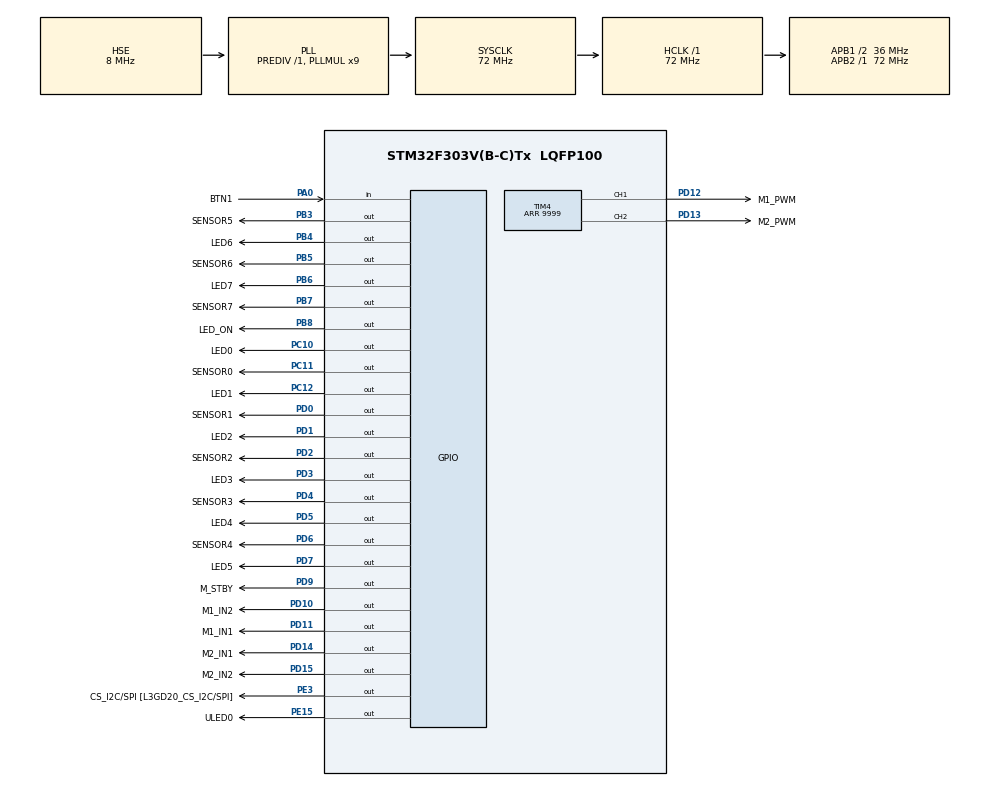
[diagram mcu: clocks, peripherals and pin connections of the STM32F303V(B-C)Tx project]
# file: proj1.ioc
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Mcu.Family=STM32F3
Mcu.Name=STM32F303V(B-C)Tx
Mcu.Package=LQFP100
NVIC.PriorityGroup=NVIC_PRIORITYGROUP_0
NVIC.TIM4_IRQn=true\:0\:0\:false\:false\:true\:true
NVIC.TIM6_DAC_IRQn=true\:0\:0\:true\:false\:true\:true
NVIC.TIM7_IRQn=true\:0\:0\:false\:false\:true\:true
PA0.GPIO_Label=BTN1
PA0.Signal=GPIO_Input
PA11.GPIO_Label=DM
PA11.Signal=USB_DM
PA12.GPIO_Label=DP
PA12.Signal=USB_DP
PA13.GPIO_Label=SWDIO
PA13.Signal=SYS_JTMS-SWDIO
PA14.GPIO_Label=SWCLK
PA14.Signal=SYS_JTCK-SWCLK
PA5.GPIO_Label=SPI1_SCK [L3GD20_SCL/SPC]
PA5.GPIO_Mode=GPIO_MODE_AF_PP
PA5.GPIO_PuPd=GPIO_NOPULL
PA5.GPIO_Speed=GPIO_SPEED_FREQ_LOW
PA5.Signal=SPI1_SCK
PA6.GPIO_Label=SPI1_MISO [L3GD20_SA0/SDO]
PA6.GPIO_Mode=GPIO_MODE_AF_PP
PA6.GPIO_PuPd=GPIO_NOPULL
PA6.GPIO_Speed=GPIO_SPEED_FREQ_LOW
PA6.Signal=SPI1_MISO
PA7.GPIO_Label=SPI1_MISO [L3GD20_SDA/SDI/SDO]
PA7.GPIO_Mode=GPIO_MODE_AF_PP
PA7.GPIO_PuPd=GPIO_NOPULL
PA7.GPIO_Speed=GPIO_SPEED_FREQ_LOW
PA7.Signal=SPI1_MOSI
PB3.GPIO_Label=SENSOR5
PB3.Signal=GPIO_Output
PB4.GPIO_Label=LED6
PB4.Signal=GPIO_Output
PB5.GPIO_Label=SENSOR6
PB5.Signal=GPIO_Output
PB6.GPIO_Label=LED7
PB6.Signal=GPIO_Output
PB7.GPIO_Label=SENSOR7
PB7.Signal=GPIO_Output
PB8.GPIO_Label=LED_ON
PB8.Signal=GPIO_Output
PC10.GPIO_Label=LED0
PC10.Signal=GPIO_Output
PC11.GPIO_Label=SENSOR0
PC11.Signal=GPIO_Output
PC12.GPIO_Label=LED1
PC12.Signal=GPIO_Output
PC14-OSC32_IN.GPIO_Label=OSC32_IN
PC14-OSC32_IN.Signal=RCC_OSC32_IN
PC15-OSC32_OUT.GPIO_Label=OSC32_OUT
PC15-OSC32_OUT.Signal=RCC_OSC32_OUT
PD0.GPIO_Label=SENSOR1
PD0.Signal=GPIO_Output
PD1.GPIO_Label=LED2
PD1.Signal=GPIO_Output
PD10.GPIO_Label=M1_IN2
PD10.Signal=GPIO_Output
PD11.GPIO_Label=M1_IN1
PD11.Signal=GPIO_Output
PD12.GPIO_Label=M1_PWM
PD12.Signal=S_TIM4_CH1
PD13.GPIO_Label=M2_PWM
PD13.Signal=S_TIM4_CH2
PD14.GPIO_Label=M2_IN1
PD14.Signal=GPIO_Output
PD15.GPIO_Label=M2_IN2
PD15.Signal=GPIO_Output
PD2.GPIO_Label=SENSOR2
PD2.Signal=GPIO_Output
PD3.GPIO_Label=LED3
PD3.Signal=GPIO_Output
PD4.GPIO_Label=SENSOR3
PD4.Signal=GPIO_Output
PD5.GPIO_Label=LED4
PD5.Signal=GPIO_Output
PD6.GPIO_Label=SENSOR4
PD6.Signal=GPIO_Output
PD7.GPIO_Label=LED5
PD7.Signal=GPIO_Output
PD9.GPIO_Label=M_STBY
PD9.Signal=GPIO_Output
PE15.GPIO_Label=ULED0
PE15.Signal=GPIO_Output
PE3.GPIO_Label=CS_I2C/SPI [L3GD20_CS_I2C/SPI]
PE3.GPIO_ModeDefaultOutputPP=GPIO_MODE_OUTPUT_PP
PE3.GPIO_PuPd=GPIO_NOPULL
PE3.GPIO_Speed=GPIO_SPEED_FREQ_LOW
PE3.Signal=GPIO_Output
PF0-OSC_IN.GPIO_Label=OSC_IN
PF0-OSC_IN.Mode=HSE-External-Oscillator
PF0-OSC_IN.Signal=RCC_OSC_IN
PF1-OSC_OUT.GPIO_Label=OSC_OUT
PF1-OSC_OUT.Mode=HSE-External-Oscillator
PF1-OSC_OUT.Signal=RCC_OSC_OUT
ProjectManager.HeapSize=0x200
ProjectManager.StackSize=0x400
ProjectManager.TargetToolchain=MDK-ARM V5
RCC.AHBFreq_Value=72000000
RCC.APB1CLKDivider=RCC_HCLK_DIV2
RCC.APB1Freq_Value=36000000
RCC.APB1TimFreq_Value=72000000
RCC.APB2Freq_Value=72000000
RCC.APB2TimFreq_Value=72000000
RCC.CortexFreq_Value=72000000
RCC.HCLKFreq_Value=72000000
RCC.HSE_VALUE=8000000
RCC.HSI_VALUE=8000000
RCC.LSE_VALUE=32768
RCC.PLLMUL=RCC_PLL_MUL9
RCC.PLLSourceVirtual=RCC_PLLSOURCE_HSE
RCC.SYSCLKFreq_VALUE=72000000
RCC.SYSCLKSourceVirtual=RCC_SYSCLKSOURCE_PLLCLK
RCC.USBFreq_Value=72000000
SH.S_TIM4_CH1.0=TIM4_CH1,PWM Generation1 CH1
SH.S_TIM4_CH2.0=TIM4_CH2,PWM Generation2 CH2
TIM4.Channel-PWM\ Generation1\ CH1=TIM_CHANNEL_1
TIM4.Channel-PWM\ Generation2\ CH2=TIM_CHANNEL_2
TIM4.Period=9999
TIM4.Pulse-PWM\ Generation1\ CH1=4999
TIM4.Pulse-PWM\ Generation2\ CH2=4999
TIM6.Period=65535
TIM6.Prescaler=71
TIM7.Period=999
TIM7.Prescaler=35999
VP_TIM4_VS_ClockSourceINT.Mode=Internal
VP_TIM6_VS_ClockSourceINT.Mode=Enable_Timer
VP_TIM7_VS_ClockSourceINT.Mode=Enable_Timer
board=STM32F3DISCOVERY

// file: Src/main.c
/**
  ******************************************************************************
  * @file           : main.c
  * @brief          : Main program body
  ******************************************************************************
  ** This notice applies to any and all portions of this file
  * that are not between comment pairs USER CODE BEGIN and
  * USER CODE END. Other portions of this file, whether
  * inserted by the user or by software development tools
  * are owned by their respective copyright owners.
  *
  * COPYRIGHT(c) 2018 STMicroelectronics
  *
  * Redistribution and use in source and binary forms, with or without modification,
  * are permitted provided that the following conditions are met:
  *   1. Redistributions of source code must retain the above copyright notice,
  *      this list of conditions and the following disclaimer.
  *   2. Redistributions in binary form must reproduce the above copyright notice,
  *      this list of conditions and the following disclaimer in the documentation
  *      and/or other materials provided with the distribution.
  *   3. Neither the name of STMicroelectronics nor the names of its contributors
  *      may be used to endorse or promote products derived from this software
  *      without specific prior written permission.
  *
  * THIS SOFTWARE IS PROVIDED BY THE COPYRIGHT HOLDERS AND CONTRIBUTORS "AS IS"
  * AND ANY EXPRESS OR IMPLIED WARRANTIES, INCLUDING, BUT NOT LIMITED TO, THE
  * IMPLIED WARRANTIES OF MERCHANTABILITY AND FITNESS FOR A PARTICULAR PURPOSE ARE
  * DISCLAIMED. IN NO EVENT SHALL THE COPYRIGHT HOLDER OR CONTRIBUTORS BE LIABLE
  * FOR ANY DIRECT, INDIRECT, INCIDENTAL, SPECIAL, EXEMPLARY, OR CONSEQUENTIAL
  * DAMAGES (INCLUDING, BUT NOT LIMITED TO, PROCUREMENT OF SUBSTITUTE GOODS OR
  * SERVICES; LOSS OF USE, DATA, OR PROFITS; OR BUSINESS INTERRUPTION) HOWEVER
  * CAUSED AND ON ANY THEORY OF LIABILITY, WHETHER IN CONTRACT, STRICT LIABILITY,
  * OR TORT (INCLUDING NEGLIGENCE OR OTHERWISE) ARISING IN ANY WAY OUT OF THE USE
  * OF THIS SOFTWARE, EVEN IF ADVISED OF THE POSSIBILITY OF SUCH DAMAGE.
  *
  ******************************************************************************
  */
#include "main.h"
#include "gpio.h"
#include "stm32f3xx_hal.h"
#include "tim.h"

/* USER CODE BEGIN Includes */
#include "lineSensor.h"
#include "motor.h"
/* USER CODE END Includes */

/* USER CODE BEGIN PV */
/* Private variables ---------------------------------------------------------*/

/* USER CODE END PV */

void SystemClock_Config(void);

/* USER CODE BEGIN PFP */

void toogleLed() {
  ULED0_GPIO_Port->ODR ^= ULED0_Pin;
}

void HAL_TIM_PeriodElapsedCallback(TIM_HandleTypeDef *htim) {
  if (htim->Instance == TIM7) {
    toogleLed();
  }
}

/* Private function prototypes -----------------------------------------------*/

/* USER CODE END PFP */

int main(void) {

  /* MCU Configuration----------------------------------------------------------*/

  /* Reset of all peripherals, Initializes the Flash interface and the Systick. */
  HAL_Init();

  /* Configure the system clock */
  SystemClock_Config();

  /* Initialize all configured peripherals */
  MX_GPIO_Init();
  MX_TIM6_Init();
  MX_TIM4_Init();
  MX_TIM7_Init();

  /* Infinite loop */
  /* USER CODE BEGIN WHILE */
  HAL_TIM_Base_Start_IT(&htim7);
  motor_init();
  sensor_start();
  motor_forward();
  while (1) {

    sensor_measure();

    //crossing
    if (sensor_get(3) && sensor_get(4) && sensor_get(2) && sensor_get(6))
      motor_forward();

    //90 corners
    else if ((sensor_get(1) && sensor_get(0)) || (sensor_get(3) && sensor_get(1)))
      motor_turnRight(4);
    else if (sensor_get(6) && sensor_get(7) || (sensor_get(4) && sensor_get(6)))
      motor_turnLeft(4);

    else if (sensor_get(2))
      motor_turnRight(1);
    else if (sensor_get(1))
      motor_turnRight(2);
    else if (sensor_get(0))
      motor_turnRight(3);

    else if (sensor_get(5))
      motor_turnRight(1);
    else if (sensor_get(6))
      motor_turnRight(2);
    else if (sensor_get(7))
      motor_turnRight(3);

    else if (sensor_get(3) || sensor_get(4))
      motor_forward();

    /* USER CODE END WHILE */

  }
}

void SystemClock_Config(void) {

  RCC_OscInitTypeDef RCC_OscInitStruct;
  RCC_ClkInitTypeDef RCC_ClkInitStruct;

  /**Initializes the CPU, AHB and APB busses clocks
    */
  RCC_OscInitStruct.OscillatorType = RCC_OSCILLATORTYPE_HSE;
  RCC_OscInitStruct.HSEState = RCC_HSE_ON;
  RCC_OscInitStruct.HSEPredivValue = RCC_HSE_PREDIV_DIV1;
  RCC_OscInitStruct.HSIState = RCC_HSI_ON;
  RCC_OscInitStruct.PLL.PLLState = RCC_PLL_ON;
  RCC_OscInitStruct.PLL.PLLSource = RCC_PLLSOURCE_HSE;
  RCC_OscInitStruct.PLL.PLLMUL = RCC_PLL_MUL9;
  if (HAL_RCC_OscConfig(&RCC_OscInitStruct) != HAL_OK) {
    _Error_Handler(__FILE__, __LINE__);
  }

  /**Initializes the CPU, AHB and APB busses clocks
    */
  RCC_ClkInitStruct.ClockType = RCC_CLOCKTYPE_HCLK | RCC_CLOCKTYPE_SYSCLK | RCC_CLOCKTYPE_PCLK1 | RCC_CLOCKTYPE_PCLK2;
  RCC_ClkInitStruct.SYSCLKSource = RCC_SYSCLKSOURCE_PLLCLK;
  RCC_ClkInitStruct.AHBCLKDivider = RCC_SYSCLK_DIV1;
  RCC_ClkInitStruct.APB1CLKDivider = RCC_HCLK_DIV2;
  RCC_ClkInitStruct.APB2CLKDivider = RCC_HCLK_DIV1;

  if (HAL_RCC_ClockConfig(&RCC_ClkInitStruct, FLASH_LATENCY_2) != HAL_OK) {
    _Error_Handler(__FILE__, __LINE__);
  }

  /**Configure the Systick interrupt time
    */
  HAL_SYSTICK_Config(HAL_RCC_GetHCLKFreq() / 1000);

  /**Configure the Systick
    */
  HAL_SYSTICK_CLKSourceConfig(SYSTICK_CLKSOURCE_HCLK);

  /* SysTick_IRQn interrupt configuration */
  HAL_NVIC_SetPriority(SysTick_IRQn, 0, 0);
}

void _Error_Handler(char *file, int line) {
  while (1) {
  }
}

/************************ (C) COPYRIGHT STMicroelectronics *****END OF FILE****/
